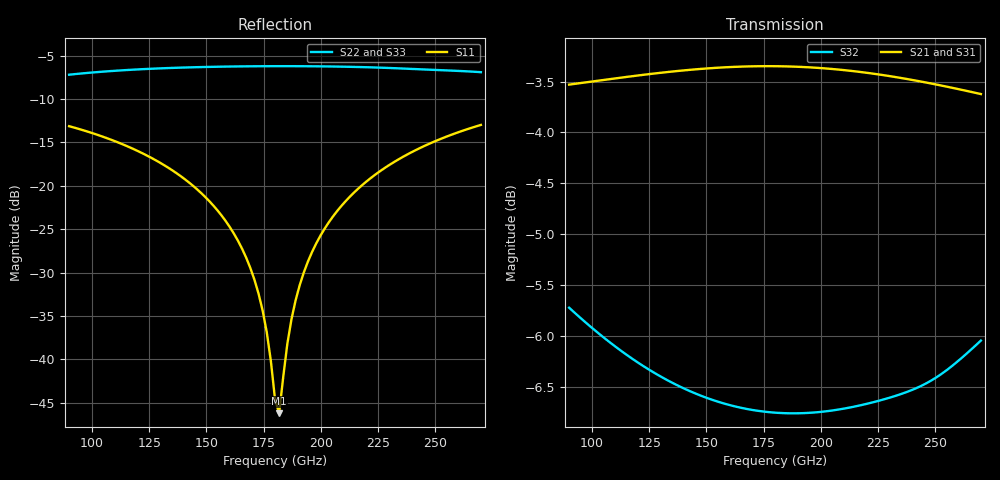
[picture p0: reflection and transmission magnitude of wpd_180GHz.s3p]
#  GHZ S DB R 50
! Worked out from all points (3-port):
!   101 points, 90 GHz to 270 GHz, reference 50 ohm
!   strongest paths, dB at 90 GHz, 135 GHz, 180 GHz, 225 GHz, 270 GHz:
!     S21: -3.5, -3.4, -3.3, -3.4, -3.6
!     S31: -3.5, -3.4, -3.4, -3.4, -3.6
!     S32: -5.7, -6.5, -6.8, -6.6, -6.0
!   lowest |S11| = -46.2 dB at 181.8 GHz (marker M1), VSWR 1.01, Z = 50.5 - j0.161 ohm
!   |S11| at or under -10 dB: start of sweep to end of sweep
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90  -13.13 133.7  -3.53 -43.9  -3.53 -43.9
    -3.53 -43.9  -7.19 51.7  -5.72 -97.0
    -3.53 -43.9  -5.72 -97.0  -7.19 51.7
129.6  -17.32 112.8  -3.41 -64.0  -3.42 -63.9
       -3.41 -64.0  -6.46 23.8  -6.39 -133.6
       -3.42 -63.9  -6.39 -133.6  -6.46 23.8
156.6  -23.41 96.8  -3.36 -78.0  -3.36 -77.9
       -3.36 -78.0  -6.27 8.3  -6.65 -157.7
       -3.36 -77.9  -6.65 -157.7  -6.26 8.3
172.8  -32.43 81.0  -3.35 -86.4  -3.35 -86.4
       -3.35 -86.4  -6.22 -0.4  -6.73 -172.0
       -3.35 -86.4  -6.73 -172.0  -6.21 -0.4
180  -44.59 36.0  -3.35 -90.2  -3.35 -90.2
     -3.35 -90.2  -6.21 -4.2  -6.75 -178.4
     -3.35 -90.2  -6.75 -178.4  -6.20 -4.2
181.8  -46.23 -19.0  -3.35 -91.2  -3.35 -91.2
       -3.35 -91.2  -6.21 -5.1  -6.75 -180.0
       -3.35 -91.2  -6.75 -180.0  -6.20 -5.1
189  -33.21 -83.8  -3.35 -95.0  -3.36 -95.0
     -3.35 -95.0  -6.21 -8.9  -6.76 173.7
     -3.36 -95.0  -6.76 173.7  -6.20 -8.9
203.4  -24.26 -99.3  -3.37 -102.5  -3.38 -102.5
       -3.37 -102.5  -6.24 -16.4  -6.74 160.9
       -3.38 -102.5  -6.74 160.9  -6.23 -16.4
230.4  -17.53 -115.8  -3.45 -116.7  -3.45 -116.7
       -3.45 -116.7  -6.42 -31.0  -6.60 136.7
       -3.45 -116.7  -6.60 136.7  -6.41 -31.0
270  -12.98 -136.8  -3.62 -137.0  -3.63 -137.0
     -3.62 -137.0  -6.90 -55.4  -6.04 100.9
     -3.63 -137.0  -6.04 100.9  -6.88 -55.4
